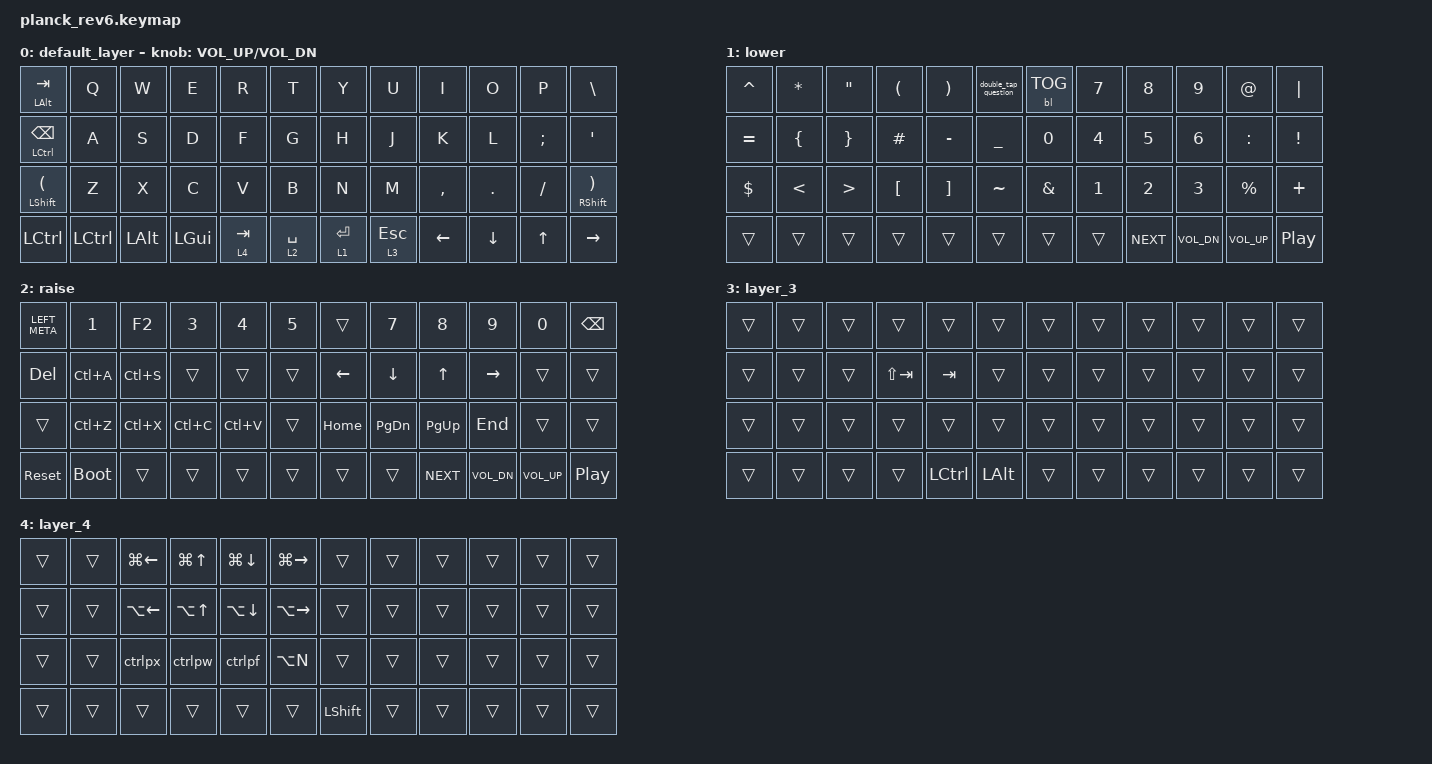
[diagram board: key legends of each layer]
/*
 * Copyright (c) 2020 The ZMK Contributors
 *
 * SPDX-License-Identifier: MIT
 */

#include <behaviors.dtsi>
#include <dt-bindings/zmk/backlight.h>
#include <dt-bindings/zmk/keys.h>

/* Uncomment this block  if using an encoder */
//&encoder {
//    status = "okay";
//};

/ {
    macros {
        ctrlpf: ctrlpf {
            compatible = "zmk,behavior-macro";
            #binding-cells = <0>;
            bindings = <&kp LC(P) &kp F>;
            label = "CTRLPF";
        };

        ctrlpw: ctrlpw {
            compatible = "zmk,behavior-macro";
            #binding-cells = <0>;
            bindings = <&kp LC(P) &kp W>;
            label = "CTRLPW";
        };

        ctrlpx: ctrlpx {
            compatible = "zmk,behavior-macro";
            #binding-cells = <0>;
            bindings = <&kp LC(P) &kp X>;
            label = "CTRLPX";
        };
    };

    behaviors {
        double_tap_question: double_tap_question {
            compatible = "zmk,behavior-tap-dance";
            label = "DOUBLE_TAP_QUESTION";
            #binding-cells = <0>;
            bindings = <&kp QUESTION>, <&kp EXCL>;
        };
    };

    keymap {
        compatible = "zmk,keymap";

        default_layer {
            // -----------------------------------------------------------------------------------------
            // |  TAB  |  Q   |  W   |  E   |  R   |  T   |   Y   |  U    |  I   |  O   |   P   | BSPC  |
            // |  ESC  |  A   |  S   |  D   |  F   |  G   |   H   |  J    |  K   |  L   |   ;   |  '    |
            // | SHIFT |  Z   |  X   |  C   |  V   |  B   |   N   |  M    |  ,   |  .   |   /   |  RET  |
            // |       | LCTL | LALT | LGUI | LOWR |     SPACE    |  RAIS | LARW | DARW | UARW  |  RARW |

            bindings = <
&mt LEFT_ALT TAB                 &kp Q     &kp W     &kp E     &kp R      &kp T        &kp Y        &kp U         &kp I      &kp O     &kp P      &kp BACKSLASH
&mt LEFT_CONTROL BACKSPACE       &kp A     &kp S     &kp D     &kp F      &kp G        &kp H        &kp J         &kp K      &kp L     &kp SEMI   &kp SQT
&mt LEFT_SHIFT LEFT_PARENTHESIS  &kp Z     &kp X     &kp C     &kp V      &kp B        &kp N        &kp M         &kp COMMA  &kp DOT   &kp SLASH  &mt RIGHT_SHIFT RIGHT_PARENTHESIS
&kp LCTRL                        &kp LCTL  &kp LALT  &kp LGUI  &lt 4 TAB  &lt 2 SPACE  &lt 1 ENTER  &lt 3 ESCAPE  &kp LEFT   &kp DOWN  &kp UP     &kp RIGHT
            >;

            sensor-bindings = <&inc_dec_kp C_VOL_UP C_VOL_DN>;
        };

        lower {
            bindings = <
&kp CARET   &kp STAR        &kp DOUBLE_QUOTES  &kp LEFT_PARENTHESIS  &kp RIGHT_PARENTHESIS  &double_tap_question  &bl BL_TOG     &kp N7        &kp N8        &kp N9        &kp AT        &kp PIPE
&kp EQUAL   &kp LEFT_BRACE  &kp RIGHT_BRACE    &kp HASH              &kp MINUS              &kp UNDERSCORE        &kp N0         &kp NUMBER_4  &kp N5        &kp NUMBER_6  &kp COLON     &kp EXCL
&kp DOLLAR  &kp LESS_THAN   &kp GREATER_THAN   &kp LEFT_BRACKET      &kp RIGHT_BRACKET      &kp TILDE             &kp AMPERSAND  &kp NUMBER_1  &kp NUMBER_2  &kp NUMBER_3  &kp PERCENT   &kp PLUS
&trans      &trans          &trans             &trans                &trans                 &trans                &trans         &trans        &kp C_NEXT    &kp C_VOL_DN  &kp C_VOL_UP  &kp C_PP
            >;
        };

        raise {
            bindings = <
&kp LEFT_META  &kp N1       &kp F2     &kp N3     &kp N4     &kp N5  &trans          &kp N7          &kp N8        &kp N9        &kp N0        &kp BSPC
&kp DEL        &kp LC(A)    &kp LC(S)  &trans     &trans     &trans  &kp LEFT_ARROW  &kp DOWN_ARROW  &kp UP_ARROW  &kp RIGHT     &trans        &trans
&trans         &kp LC(Z)    &kp LC(X)  &kp LC(C)  &kp LC(V)  &trans  &kp HOME        &kp PAGE_DOWN   &kp PG_UP     &kp END       &trans        &trans
&sys_reset     &bootloader  &trans     &trans     &trans     &trans  &trans          &trans          &kp C_NEXT    &kp C_VOL_DN  &kp C_VOL_UP  &kp C_PP
            >;
        };

        layer_3 {
            bindings = <
&trans  &trans  &trans  &trans       &trans            &trans        &trans  &trans  &trans  &trans  &trans  &trans
&trans  &trans  &trans  &kp LS(TAB)  &kp TAB           &trans        &trans  &trans  &trans  &trans  &trans  &trans
&trans  &trans  &trans  &trans       &trans            &trans        &trans  &trans  &trans  &trans  &trans  &trans
&trans  &trans  &trans  &trans       &kp LEFT_CONTROL  &kp LEFT_ALT  &trans  &trans  &trans  &trans  &trans  &trans
            >;
        };

        layer_4 {
            bindings = <
&trans  &trans  &kp LG(LEFT_ARROW)  &kp LG(UP_ARROW)  &kp LG(DOWN)  &kp LG(RIGHT)  &trans          &trans  &trans  &trans  &trans  &trans
&trans  &trans  &kp LA(LEFT)        &kp LA(UP_ARROW)  &kp LA(DOWN)  &kp LA(RIGHT)  &trans          &trans  &trans  &trans  &trans  &trans
&trans  &trans  &ctrlpx             &ctrlpw           &ctrlpf       &kp LA(N)      &trans          &trans  &trans  &trans  &trans  &trans
&trans  &trans  &trans              &trans            &trans        &trans         &kp LEFT_SHIFT  &trans  &trans  &trans  &trans  &trans
            >;
        };
    };
};
